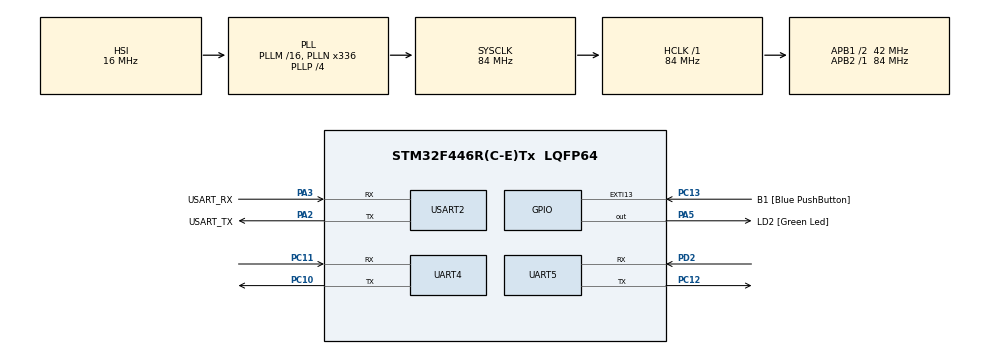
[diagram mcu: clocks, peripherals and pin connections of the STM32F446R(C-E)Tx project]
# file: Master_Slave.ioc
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Dma.Request0=UART4_RX
Dma.UART4_RX.0.Direction=DMA_PERIPH_TO_MEMORY
Dma.UART4_RX.0.FIFOMode=DMA_FIFOMODE_DISABLE
Dma.UART4_RX.0.Instance=DMA1_Stream2
Dma.UART4_RX.0.MemDataAlignment=DMA_MDATAALIGN_BYTE
Dma.UART4_RX.0.MemInc=DMA_MINC_ENABLE
Dma.UART4_RX.0.Mode=DMA_CIRCULAR
Dma.UART4_RX.0.PeriphDataAlignment=DMA_PDATAALIGN_BYTE
Dma.UART4_RX.0.PeriphInc=DMA_PINC_DISABLE
Dma.UART4_RX.0.Priority=DMA_PRIORITY_LOW
Mcu.Family=STM32F4
Mcu.Name=STM32F446R(C-E)Tx
Mcu.Package=LQFP64
NVIC.DMA1_Stream2_IRQn=true\:0\:0\:false\:false\:true\:false\:true\:true
NVIC.PriorityGroup=NVIC_PRIORITYGROUP_0
NVIC.UART4_IRQn=true\:0\:0\:false\:false\:true\:true\:true\:true
PA13.GPIO_Label=TMS
PA13.Mode=Serial_Wire
PA13.Signal=SYS_JTMS-SWDIO
PA14.GPIO_Label=TCK
PA14.Mode=Serial_Wire
PA14.Signal=SYS_JTCK-SWCLK
PA2.GPIO_Label=USART_TX
PA2.GPIO_PuPd=GPIO_NOPULL
PA2.Mode=Asynchronous
PA2.Signal=USART2_TX
PA3.GPIO_Label=USART_RX
PA3.GPIO_PuPd=GPIO_NOPULL
PA3.Mode=Asynchronous
PA3.Signal=USART2_RX
PA5.GPIO_Label=LD2 [Green Led]
PA5.Signal=GPIO_Output
PB3.GPIO_Label=SWO
PB3.Signal=SYS_JTDO-SWO
PC10.Mode=Asynchronous
PC10.Signal=UART4_TX
PC11.Mode=Asynchronous
PC11.Signal=UART4_RX
PC12.Mode=Asynchronous
PC12.Signal=UART5_TX
PC13.GPIO_Label=B1 [Blue PushButton]
PC13.GPIO_ModeDefaultEXTI=GPIO_MODE_IT_FALLING
PC13.Signal=GPXTI13
PC14-OSC32_IN.Mode=LSE-External-Oscillator
PC14-OSC32_IN.Signal=RCC_OSC32_IN
PC15-OSC32_OUT.Mode=LSE-External-Oscillator
PC15-OSC32_OUT.Signal=RCC_OSC32_OUT
PD2.Mode=Asynchronous
PD2.Signal=UART5_RX
PH0-OSC_IN.Mode=HSE-External-Oscillator
PH0-OSC_IN.Signal=RCC_OSC_IN
PH1-OSC_OUT.Mode=HSE-External-Oscillator
PH1-OSC_OUT.Signal=RCC_OSC_OUT
ProjectManager.HeapSize=0x200
ProjectManager.StackSize=0x400
ProjectManager.TargetToolchain=STM32CubeIDE
RCC.48MHZClocksFreq_Value=84000000
RCC.AHBFreq_Value=84000000
RCC.APB1CLKDivider=RCC_HCLK_DIV2
RCC.APB1Freq_Value=42000000
RCC.APB1TimFreq_Value=84000000
RCC.APB2Freq_Value=84000000
RCC.APB2TimFreq_Value=84000000
RCC.CortexFreq_Value=84000000
RCC.FLatency-AdvancedSettings=FLASH_LATENCY_2
RCC.HCLKFreq_Value=84000000
RCC.HSE_VALUE=8000000
RCC.HSI_VALUE=16000000
RCC.PLLN=336
RCC.PLLP=RCC_PLLP_DIV4
RCC.SYSCLKFreq_VALUE=84000000
RCC.SYSCLKSource=RCC_SYSCLKSOURCE_PLLCLK
RCC.USBFreq_Value=168000000
RCC.VCOOutputFreq_Value=336000000
UART4.VirtualMode=Asynchronous
UART5.VirtualMode=Asynchronous
USART2.VirtualMode=VM_ASYNC
board=NUCLEO-F446RE

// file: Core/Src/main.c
/* USER CODE BEGIN Header */
/**
 ******************************************************************************
 * @file           : main.c
 * @brief          : Main program body
 ******************************************************************************
 * @attention
 *
 * Copyright (c) 2025 STMicroelectronics.
 * All rights reserved.
 *
 * This software is licensed under terms that can be found in the LICENSE file
 * in the root directory of this software component.
 * If no LICENSE file comes with this software, it is provided AS-IS.
 *
 ******************************************************************************
 */
/* USER CODE END Header */
#include "main.h"

/* USER CODE BEGIN Includes */
#include "string.h"
/* USER CODE END Includes */

UART_HandleTypeDef huart4;
UART_HandleTypeDef huart5;
UART_HandleTypeDef huart2;
DMA_HandleTypeDef hdma_uart4_rx;

/* USER CODE BEGIN PV */
//uint8_t data[] = "123";
//char data[] = "123";
char data[2];
/* USER CODE END PV */

void SystemClock_Config(void);
static void MX_GPIO_Init(void);
static void MX_DMA_Init(void);
static void MX_USART2_UART_Init(void);
static void MX_UART4_Init(void);
static void MX_UART5_Init(void);

/* USER CODE BEGIN 0 */
uint8_t rxbuff[16];
int32_t lx, ly, rx, ry, cro, squ, tri, cir, up, down, left, right, ll1, rr1,
		ll2, rr2, rL, rR;

void HAL_UART_RxCpltCallback(UART_HandleTypeDef *huart) {
	HAL_UART_Receive_DMA(&huart4, rxbuff, 16);
}
/* USER CODE END 0 */

int main(void)
{

  /* MCU Configuration--------------------------------------------------------*/

  /* Reset of all peripherals, Initializes the Flash interface and the Systick. */
  HAL_Init();

  /* Configure the system clock */
  SystemClock_Config();

  /* Initialize all configured peripherals */
  MX_GPIO_Init();
  MX_DMA_Init();
  MX_USART2_UART_Init();
  MX_UART4_Init();
  MX_UART5_Init();
  /* USER CODE BEGIN 2 */
	HAL_UART_Receive_DMA(&huart4, rxbuff, 16);
  /* USER CODE END 2 */

  /* Infinite loop */
	while (1) {

    /* USER CODE BEGIN 3 */
		/* ps5 controller */
		lx = (rxbuff[0] & 0x80) ?
				(int32_t) rxbuff[0] - 256 : (int32_t) rxbuff[0];
		ly = (rxbuff[1] & 0x80) ?
				(int32_t) rxbuff[1] - 256 : (int32_t) rxbuff[1];
		rx = (rxbuff[2] & 0x80) ?
				(int32_t) rxbuff[2] - 256 : (int32_t) rxbuff[2];
		ry = (rxbuff[3] & 0x80) ?
				(int32_t) rxbuff[3] - 256 : (int32_t) rxbuff[3];
		cro = (rxbuff[4] & 0x80) ?
				(int32_t) rxbuff[4] - 256 : (int32_t) rxbuff[4];
		squ = (rxbuff[5] & 0x80) ?
				(int32_t) rxbuff[5] - 256 : (int32_t) rxbuff[5];
		tri = (rxbuff[6] & 0x80) ?
				(int32_t) rxbuff[6] - 256 : (int32_t) rxbuff[6];
		cir = (rxbuff[7] & 0x80) ?
				(int32_t) rxbuff[7] - 256 : (int32_t) rxbuff[7];
		up = (rxbuff[8] & 0x80) ?
				(int32_t) rxbuff[8] - 256 : (int32_t) rxbuff[8];
		down = (rxbuff[9] & 0x80) ?
				(int32_t) rxbuff[9] - 256 : (int32_t) rxbuff[9];
		left = (rxbuff[10] & 0x80) ?
				(int32_t) rxbuff[10] - 256 : (int32_t) rxbuff[10];
		right = (rxbuff[11] & 0x80) ?
				(int32_t) rxbuff[11] - 256 : (int32_t) rxbuff[11];
		ll1 = (rxbuff[12] & 0x80) ?
				(int32_t) rxbuff[12] - 256 : (int32_t) rxbuff[12];
		ll2 = (rxbuff[13] & 0x80) ?
				(int32_t) rxbuff[13] - 256 : (int32_t) rxbuff[13];
		rr1 = (rxbuff[14] & 0x80) ?
				(int32_t) rxbuff[14] - 256 : (int32_t) rxbuff[14];
		rr2 = (rxbuff[15] & 0x80) ?
				(int32_t) rxbuff[15] - 256 : (int32_t) rxbuff[15];

		printf("Received Integers: %ld %ld %ld %ld %ld %ld %ld %ld\r\n", lx, ly,
				rx, ry, cro, squ, tri, cir);

		data[0] = rxbuff[7];
		data[1] = rxbuff[4];

		HAL_GPIO_TogglePin(GPIOA, GPIO_PIN_5);
		HAL_UART_Transmit(&huart5, (uint8_t*)data, 2, 1000);
//		printf("Send data: %s\r\n", data);
//		HAL_Delay(500);
	}
  /* USER CODE END 3 */
}

void SystemClock_Config(void)
{
  RCC_OscInitTypeDef RCC_OscInitStruct = {0};
  RCC_ClkInitTypeDef RCC_ClkInitStruct = {0};

  /** Configure the main internal regulator output voltage
  */
  __HAL_RCC_PWR_CLK_ENABLE();
  __HAL_PWR_VOLTAGESCALING_CONFIG(PWR_REGULATOR_VOLTAGE_SCALE3);

  /** Initializes the RCC Oscillators according to the specified parameters
  * in the RCC_OscInitTypeDef structure.
  */
  RCC_OscInitStruct.OscillatorType = RCC_OSCILLATORTYPE_HSI;
  RCC_OscInitStruct.HSIState = RCC_HSI_ON;
  RCC_OscInitStruct.HSICalibrationValue = RCC_HSICALIBRATION_DEFAULT;
  RCC_OscInitStruct.PLL.PLLState = RCC_PLL_ON;
  RCC_OscInitStruct.PLL.PLLSource = RCC_PLLSOURCE_HSI;
  RCC_OscInitStruct.PLL.PLLM = 16;
  RCC_OscInitStruct.PLL.PLLN = 336;
  RCC_OscInitStruct.PLL.PLLP = RCC_PLLP_DIV4;
  RCC_OscInitStruct.PLL.PLLQ = 2;
  RCC_OscInitStruct.PLL.PLLR = 2;
  if (HAL_RCC_OscConfig(&RCC_OscInitStruct) != HAL_OK)
  {
    Error_Handler();
  }

  /** Initializes the CPU, AHB and APB buses clocks
  */
  RCC_ClkInitStruct.ClockType = RCC_CLOCKTYPE_HCLK|RCC_CLOCKTYPE_SYSCLK
                              |RCC_CLOCKTYPE_PCLK1|RCC_CLOCKTYPE_PCLK2;
  RCC_ClkInitStruct.SYSCLKSource = RCC_SYSCLKSOURCE_PLLCLK;
  RCC_ClkInitStruct.AHBCLKDivider = RCC_SYSCLK_DIV1;
  RCC_ClkInitStruct.APB1CLKDivider = RCC_HCLK_DIV2;
  RCC_ClkInitStruct.APB2CLKDivider = RCC_HCLK_DIV1;

  if (HAL_RCC_ClockConfig(&RCC_ClkInitStruct, FLASH_LATENCY_2) != HAL_OK)
  {
    Error_Handler();
  }
}

static void MX_UART4_Init(void)
{

  huart4.Instance = UART4;
  huart4.Init.BaudRate = 115200;
  huart4.Init.WordLength = UART_WORDLENGTH_8B;
  huart4.Init.StopBits = UART_STOPBITS_1;
  huart4.Init.Parity = UART_PARITY_NONE;
  huart4.Init.Mode = UART_MODE_TX_RX;
  huart4.Init.HwFlowCtl = UART_HWCONTROL_NONE;
  huart4.Init.OverSampling = UART_OVERSAMPLING_16;
  if (HAL_UART_Init(&huart4) != HAL_OK)
  {
    Error_Handler();
  }

}

static void MX_UART5_Init(void)
{

  huart5.Instance = UART5;
  huart5.Init.BaudRate = 115200;
  huart5.Init.WordLength = UART_WORDLENGTH_8B;
  huart5.Init.StopBits = UART_STOPBITS_1;
  huart5.Init.Parity = UART_PARITY_NONE;
  huart5.Init.Mode = UART_MODE_TX_RX;
  huart5.Init.HwFlowCtl = UART_HWCONTROL_NONE;
  huart5.Init.OverSampling = UART_OVERSAMPLING_16;
  if (HAL_UART_Init(&huart5) != HAL_OK)
  {
    Error_Handler();
  }

}

static void MX_USART2_UART_Init(void)
{

  huart2.Instance = USART2;
  huart2.Init.BaudRate = 115200;
  huart2.Init.WordLength = UART_WORDLENGTH_8B;
  huart2.Init.StopBits = UART_STOPBITS_1;
  huart2.Init.Parity = UART_PARITY_NONE;
  huart2.Init.Mode = UART_MODE_TX_RX;
  huart2.Init.HwFlowCtl = UART_HWCONTROL_NONE;
  huart2.Init.OverSampling = UART_OVERSAMPLING_16;
  if (HAL_UART_Init(&huart2) != HAL_OK)
  {
    Error_Handler();
  }

}

static void MX_DMA_Init(void)
{

  /* DMA controller clock enable */
  __HAL_RCC_DMA1_CLK_ENABLE();

  /* DMA interrupt init */
  /* DMA1_Stream2_IRQn interrupt configuration */
  HAL_NVIC_SetPriority(DMA1_Stream2_IRQn, 0, 0);
  HAL_NVIC_EnableIRQ(DMA1_Stream2_IRQn);

}

static void MX_GPIO_Init(void)
{
  GPIO_InitTypeDef GPIO_InitStruct = {0};

  /* GPIO Ports Clock Enable */
  __HAL_RCC_GPIOC_CLK_ENABLE();
  __HAL_RCC_GPIOH_CLK_ENABLE();
  __HAL_RCC_GPIOA_CLK_ENABLE();
  __HAL_RCC_GPIOD_CLK_ENABLE();
  __HAL_RCC_GPIOB_CLK_ENABLE();

  /*Configure GPIO pin Output Level */
  HAL_GPIO_WritePin(LD2_GPIO_Port, LD2_Pin, GPIO_PIN_RESET);

  /*Configure GPIO pin : B1_Pin */
  GPIO_InitStruct.Pin = B1_Pin;
  GPIO_InitStruct.Mode = GPIO_MODE_IT_FALLING;
  GPIO_InitStruct.Pull = GPIO_NOPULL;
  HAL_GPIO_Init(B1_GPIO_Port, &GPIO_InitStruct);

  /*Configure GPIO pin : LD2_Pin */
  GPIO_InitStruct.Pin = LD2_Pin;
  GPIO_InitStruct.Mode = GPIO_MODE_OUTPUT_PP;
  GPIO_InitStruct.Pull = GPIO_NOPULL;
  GPIO_InitStruct.Speed = GPIO_SPEED_FREQ_LOW;
  HAL_GPIO_Init(LD2_GPIO_Port, &GPIO_InitStruct);

}

/* USER CODE BEGIN 4 */
int _write(int file, char *ptr, int len) {
	HAL_UART_Transmit(&huart2, (uint8_t*) ptr, len, HAL_MAX_DELAY);
	return len;
}
/* USER CODE END 4 */

void Error_Handler(void)
{
	__disable_irq();
	while (1) {
	}
}
